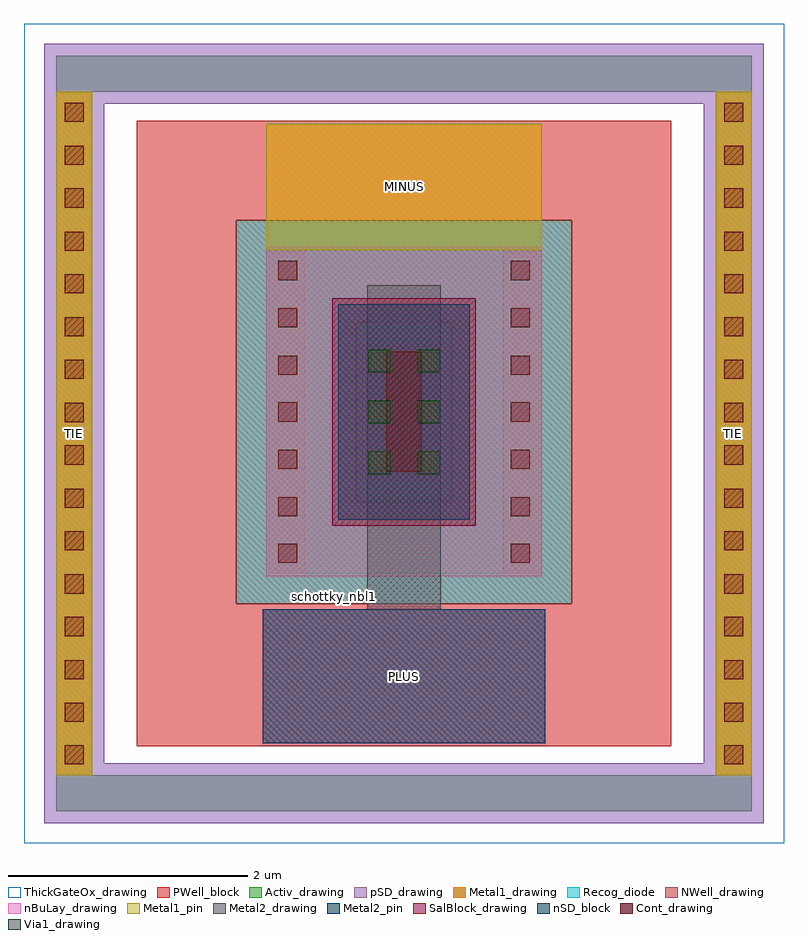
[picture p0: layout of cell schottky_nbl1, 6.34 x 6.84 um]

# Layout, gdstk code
import gdstk
lib = gdstk.Library(unit=1e-6, precision=1e-09)
def R(c, l, rs):  # rectangles x0, y0, x1, y1
    for r in rs: c.add(gdstk.rectangle(r[:2], r[2:], *l))
def A(c, l, x, y, w, h, nx, ny, dx, dy):  # array of equal rectangles
    R(c, l, [(x+i*dx, y+j*dy, x+i*dx+w, y+j*dy+h) for i in range(nx) for j in range(ny)])
Activ_drawing = (1, 0)
Cont_drawing = (6, 0)
nSD_block = (7, 21)
Metal1_drawing = (8, 0)
Metal1_pin = (8, 2)
Metal2_drawing = (10, 0)
Metal2_pin = (10, 2)
pSD_drawing = (14, 0)
Via1_drawing = (19, 0)
SalBlock_drawing = (28, 0)
NWell_drawing = (31, 0)
nBuLay_drawing = (32, 0)
ThickGateOx_drawing = (44, 0)
PWell_block = (46, 21)
Recog_diode = (99, 31)

schottky_nbl1 = lib.new_cell('schottky_nbl1')
R(schottky_nbl1, Activ_drawing, [(-2.3,-2.38,3.5,-2.08), (-2.3,-2.08,-2,3.62), (3.2,-2.08,3.5,3.62), (-0.55,-0.4,1.75,2.3), (-2.3,3.62,3.5,3.92)])
A(schottky_nbl1, Cont_drawing, -2.23, -1.99, 0.16, 0.16, 1, 3, 0, 0.355)
A(schottky_nbl1, Cont_drawing, 3.27, -1.99, 0.16, 0.16, 1, 3, 0, 0.355)
A(schottky_nbl1, Cont_drawing, -0.45, 0.08, 0.16, 0.16, 1, 3, 0, 0.395)
A(schottky_nbl1, Cont_drawing, 1.49, 0.08, 0.16, 0.16, 1, 3, 0, 0.395)
A(schottky_nbl1, Cont_drawing, -0.45, 1.26, 0.16, 0.16, 1, 3, 0, 0.395)
A(schottky_nbl1, Cont_drawing, 1.49, 1.26, 0.16, 0.16, 1, 3, 0, 0.395)
R(schottky_nbl1, Cont_drawing, [(-2.23,-0.92,-2.07,-0.76), (3.27,-0.92,3.43,-0.76), (-2.23,-0.565,-2.07,-0.405), (3.27,-0.565,3.43,-0.405), (-0.45,-0.31,-0.29,-0.15), (1.49,-0.31,1.65,-0.15), (-2.23,-0.205,-2.07,-0.045), (3.27,-0.205,3.43,-0.045), (-2.23,0.15,-2.07,0.31), (3.27,0.15,3.43,0.31), (0.45,0.45,0.75,1.45), (-2.23,0.51,-2.07,0.67), (3.27,0.51,3.43,0.67), (-2.23,0.865,-2.07,1.025), (3.27,0.865,3.43,1.025), (-2.23,1.225,-2.07,1.385), (3.27,1.225,3.43,1.385), (-2.23,1.58,-2.07,1.74), (3.27,1.58,3.43,1.74), (-2.23,1.94,-2.07,2.1), (3.27,1.94,3.43,2.1), (-2.23,2.295,-2.07,2.455), (3.27,2.295,3.43,2.455), (-2.23,2.655,-2.07,2.815), (3.27,2.655,3.43,2.815), (-2.23,3.01,-2.07,3.17), (3.27,3.01,3.43,3.17), (-2.23,3.37,-2.07,3.53), (3.27,3.37,3.43,3.53)])
R(schottky_nbl1, nSD_block, [(0.05,0.05,1.15,1.85)])
R(schottky_nbl1, Metal1_drawing, [(-2.3,-2.08,-2,3.62), (3.2,-2.08,3.5,3.62), (-0.55,-0.4,-0.51,2.3), (-0.51,-0.4,-0.23,2.3), (1.43,-0.4,1.71,2.3), (1.71,-0.4,1.75,2.3), (0.25,0.38,0.54,1.52), (0.25,0.38,0.54,1.52), (0.4,0.38,0.8,1.52), (0.66,0.38,0.95,1.52), (0.66,0.38,0.95,1.52), (0.29,0.42,0.5,1.48), (0.7,0.42,0.91,1.48), (-0.55,2.3,1.75,3.355)])
R(schottky_nbl1, Metal1_pin, [(-2.3,-2.08,-2,3.62), (3.2,-2.08,3.5,3.62), (-0.55,2.3,1.75,3.355)])
R(schottky_nbl1, Metal2_drawing, [(-0.58,-1.815,1.78,-0.695), (0.295,-0.695,0.905,2.005)])
R(schottky_nbl1, Metal2_pin, [(-0.58,-1.815,1.78,-0.695)])
R(schottky_nbl1, pSD_drawing, [(-2.4,-2.48,3.6,-1.98), (-2.4,-1.98,-1.9,3.52), (3.1,-1.98,3.6,3.52), (-2.4,3.52,3.6,4.02)])
A(schottky_nbl1, Via1_drawing, 0.3, 0.43, 0.19, 0.19, 1, 3, 0, 0.425)
A(schottky_nbl1, Via1_drawing, 0.71, 0.43, 0.19, 0.19, 1, 3, 0, 0.425)
R(schottky_nbl1, SalBlock_drawing, [(0,0,1.2,1.9)])
R(schottky_nbl1, NWell_drawing, [(-0.8,-0.65,2,0.2), (-0.8,0.2,0.2,1.7), (1,0.2,2,1.7), (-0.8,1.7,2,2.55)])
R(schottky_nbl1, nBuLay_drawing, [(-0.55,-0.42,1.75,2.32)])
R(schottky_nbl1, ThickGateOx_drawing, [(-2.57,-2.65,3.77,4.19)])
R(schottky_nbl1, PWell_block, [(-1.63,-1.84,2.83,-0.65), (-1.63,-0.65,-0.8,2.55), (2,-0.65,2.83,2.55), (0.2,0.2,1,1.7), (-1.63,2.55,2.83,3.38)])
R(schottky_nbl1, Recog_diode, [(-0.8,-0.65,2,2.55)])
schottky_nbl1.add(gdstk.Label('schottky_nbl1', (0.018,-0.59), layer=63, texttype=0))
schottky_nbl1.add(gdstk.Label('PLUS', (0.6,-1.255), layer=63, texttype=0))
schottky_nbl1.add(gdstk.Label('TIE', (3.35,0.77), layer=63, texttype=0))
schottky_nbl1.add(gdstk.Label('TIE', (-2.15,0.77), layer=63, texttype=0))
schottky_nbl1.add(gdstk.Label('MINUS', (0.6,2.827), layer=63, texttype=0))

lib.write_gds('schottky_nbl1.gds')
